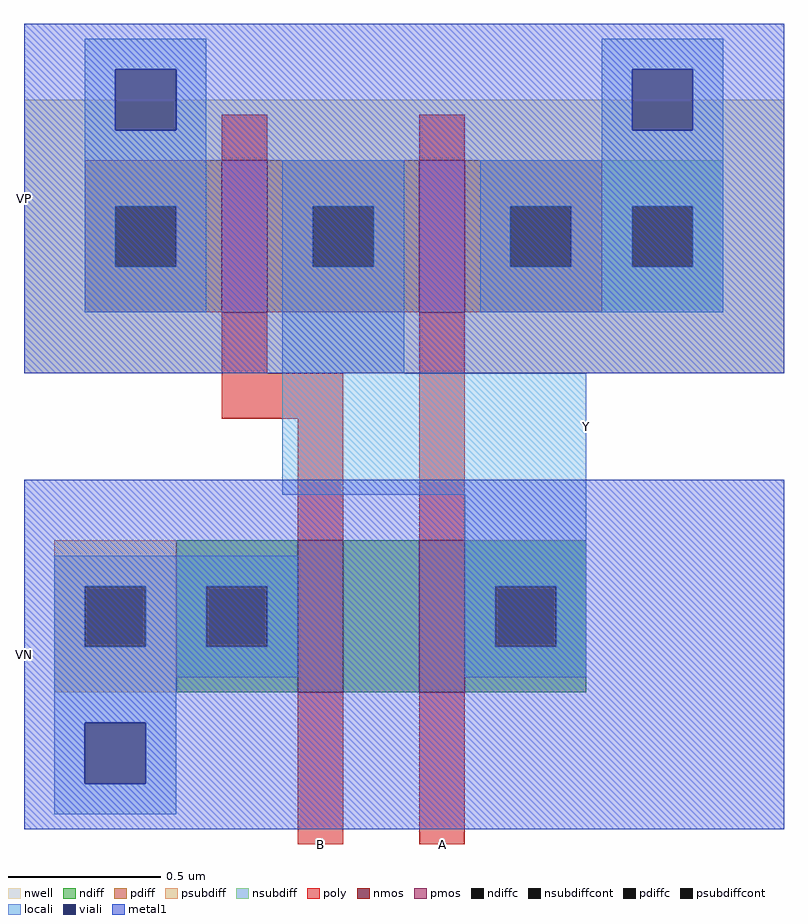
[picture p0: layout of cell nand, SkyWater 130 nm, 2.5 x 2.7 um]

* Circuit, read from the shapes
.subckt nand B A VN VP Y
XM1 n1 B VN VN sky130_fd_pr__nfet_01v8 w=0.5 l=0.15
XM2 Y A n1 VN sky130_fd_pr__nfet_01v8 w=0.5 l=0.15
XM3 Y B VP VP sky130_fd_pr__pfet_01v8 w=0.5 l=0.15
XM4 VP A Y VP sky130_fd_pr__pfet_01v8 w=0.5 l=0.15
.ends

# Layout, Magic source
magic
tech sky130A
<< nwell >>
rect -75 95 175 185
<< nmos >>
rect 15 -10 30 40
rect 55 -10 70 40
<< pmos >>
rect -10 115 5 165
rect 55 115 70 165
<< ndiff >>
rect -25 25 15 40
rect -25 5 -15 25
rect 5 5 15 25
rect -25 -10 15 5
rect 30 -10 55 40
rect 70 25 110 40
rect 70 5 80 25
rect 100 5 110 25
rect 70 -10 110 5
<< pdiff >>
rect -55 150 -10 165
rect -55 130 -45 150
rect -25 130 -10 150
rect -55 115 -10 130
rect 5 150 55 165
rect 5 130 20 150
rect 40 130 55 150
rect 5 115 55 130
rect 70 150 115 165
rect 70 130 85 150
rect 105 130 115 150
rect 70 115 115 130
<< ndiffc >>
rect -15 5 5 25
rect 80 5 100 25
<< pdiffc >>
rect -45 130 -25 150
rect 20 130 40 150
rect 85 130 105 150
<< psubdiff >>
rect -65 25 -25 40
rect -65 5 -55 25
rect -35 5 -25 25
rect -65 -10 -25 5
<< nsubdiff >>
rect 115 150 155 165
rect 115 130 125 150
rect 145 130 155 150
rect 115 115 155 130
<< psubdiffcont >>
rect -55 5 -35 25
<< nsubdiffcont >>
rect 125 130 145 150
<< poly >>
rect -10 165 5 180
rect 55 165 70 180
rect -10 95 5 115
rect -10 80 30 95
rect 15 40 30 80
rect 55 40 70 115
rect 15 -60 30 -10
rect 55 -60 70 -10
<< locali >>
rect -55 195 -15 205
rect -55 175 -45 195
rect -25 175 -15 195
rect -55 150 -15 175
rect 115 195 155 205
rect 115 175 125 195
rect 145 175 155 195
rect 115 165 155 175
rect -55 130 -45 150
rect -25 130 -15 150
rect -55 115 -15 130
rect 10 150 50 165
rect 10 130 20 150
rect 40 130 50 150
rect 10 95 50 130
rect 75 150 155 165
rect 75 130 85 150
rect 105 130 125 150
rect 145 130 155 150
rect 75 115 155 130
rect 10 55 110 95
rect -65 25 15 35
rect -65 5 -55 25
rect -35 5 -15 25
rect 5 5 15 25
rect -65 -5 15 5
rect 70 25 110 55
rect 70 5 80 25
rect 100 5 110 25
rect 70 -5 110 5
rect -65 -20 -25 -5
rect -65 -40 -55 -20
rect -35 -40 -25 -20
rect -65 -50 -25 -40
<< viali >>
rect -45 175 -25 195
rect 125 175 145 195
rect -55 -40 -35 -20
<< metal1 >>
rect -75 195 175 210
rect -75 175 -45 195
rect -25 175 125 195
rect 145 175 175 195
rect -75 95 175 175
rect -75 -20 175 60
rect -75 -40 -55 -20
rect -35 -40 175 -20
rect -75 -55 175 -40
<< labels >>
rlabel metal1 -75 0 -75 5 7 VN
port 3 w
rlabel metal1 -75 150 -75 155 7 VP
port 4 w
rlabel locali 110 75 110 80 3 Y
port 5 e
rlabel poly 15 -60 30 -60 5 B
port 1 s
rlabel poly 55 -60 70 -60 5 A
port 2 s
<< end >>
